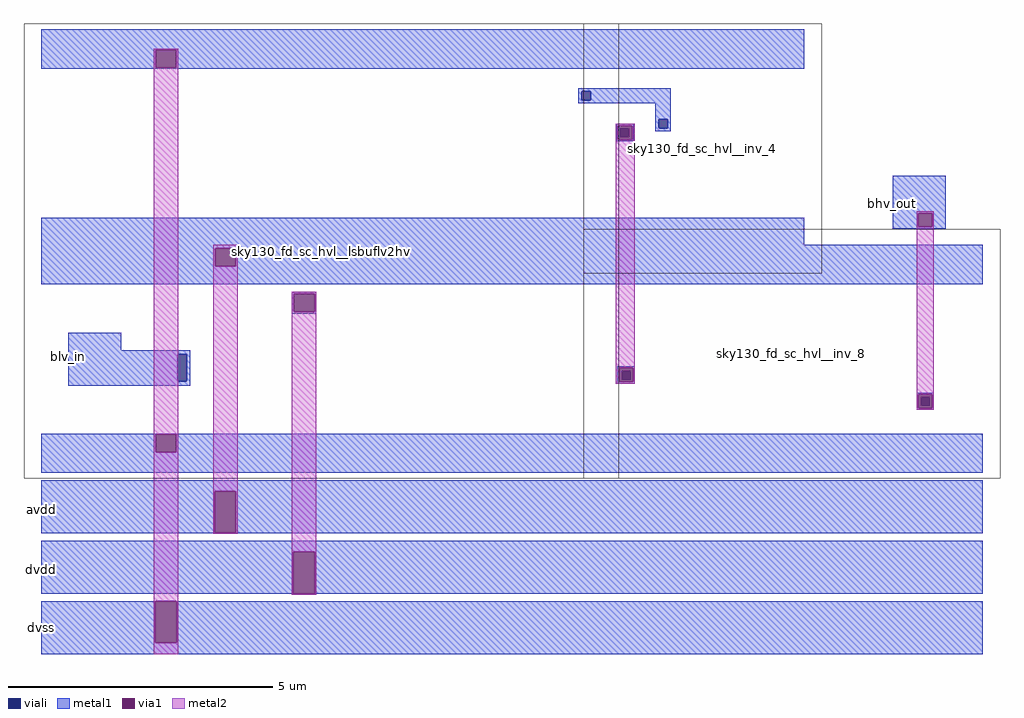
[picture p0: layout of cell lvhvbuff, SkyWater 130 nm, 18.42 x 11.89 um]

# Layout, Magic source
magic
tech sky130A
magscale 1 2
<< viali >>
rect 2762 961 2796 995
rect 3051 856 3085 890
rect 2907 821 2941 855
rect 1237 -100 1271 2
rect 2912 -93 2946 -59
rect 4041 -192 4075 -158
<< metal1 >>
rect 722 1152 3602 1229
rect 722 1084 1153 1152
rect 1231 1084 3602 1152
rect 722 1081 3602 1084
rect 2749 995 3097 1007
rect 2749 961 2762 995
rect 2796 961 3097 995
rect 2749 949 3097 961
rect 3039 890 3097 949
rect 2891 865 2957 872
rect 2891 812 2897 865
rect 2951 812 2957 865
rect 3039 856 3051 890
rect 3085 856 3097 890
rect 3039 844 3097 856
rect 2891 806 2957 812
rect 3936 535 4136 676
rect 722 415 3602 517
rect 3936 483 4032 535
rect 4084 483 4136 535
rect 3936 476 4136 483
rect 722 403 4274 415
rect 722 334 1377 403
rect 1455 334 4274 403
rect 722 267 4274 334
rect 1667 231 1759 239
rect 1667 163 1675 231
rect 1753 163 1759 231
rect 1667 156 1759 163
rect 823 18 1023 84
rect 823 2 1283 18
rect 823 -100 1237 2
rect 1271 -100 1283 2
rect 823 -116 1283 -100
rect 2896 -49 2962 -43
rect 2896 -102 2902 -49
rect 2956 -102 2962 -49
rect 2896 -108 2962 -102
rect 4026 -149 4090 -143
rect 4026 -201 4032 -149
rect 4084 -201 4090 -149
rect 4026 -207 4090 -201
rect 722 -300 4274 -297
rect 722 -368 1153 -300
rect 1231 -368 4274 -300
rect 722 -445 4274 -368
rect 722 -514 4274 -473
rect 722 -672 1376 -514
rect 1456 -672 4274 -514
rect 722 -673 4274 -672
rect 722 -743 4274 -701
rect 722 -901 1673 -743
rect 1753 -901 4274 -743
rect 722 -1087 1152 -929
rect 1232 -1087 4274 -929
rect 722 -1129 4274 -1087
<< via1 >>
rect 1153 1084 1231 1152
rect 2897 855 2951 865
rect 2897 821 2907 855
rect 2907 821 2941 855
rect 2941 821 2951 855
rect 2897 812 2951 821
rect 4032 483 4084 535
rect 1377 334 1455 403
rect 1675 163 1753 231
rect 2902 -59 2956 -49
rect 2902 -93 2912 -59
rect 2912 -93 2946 -59
rect 2946 -93 2956 -59
rect 2902 -102 2956 -93
rect 4032 -158 4084 -149
rect 4032 -192 4041 -158
rect 4041 -192 4075 -158
rect 4075 -192 4084 -158
rect 4032 -201 4084 -192
rect 1153 -368 1231 -300
rect 1376 -672 1456 -514
rect 1673 -901 1753 -743
rect 1152 -1087 1232 -929
<< metal2 >>
rect 1146 1152 1238 1155
rect 1146 1084 1153 1152
rect 1231 1084 1238 1152
rect 1146 -300 1238 1084
rect 2889 865 2962 873
rect 2889 812 2897 865
rect 2951 812 2962 865
rect 1146 -368 1153 -300
rect 1231 -368 1238 -300
rect 1146 -929 1238 -368
rect 1370 403 1462 415
rect 1370 334 1377 403
rect 1455 334 1462 403
rect 1370 -514 1462 334
rect 1370 -672 1376 -514
rect 1456 -672 1462 -514
rect 1370 -676 1462 -672
rect 1667 231 1759 239
rect 1667 163 1675 231
rect 1753 163 1759 231
rect 1667 -743 1759 163
rect 2889 -49 2962 812
rect 2889 -102 2902 -49
rect 2956 -102 2962 -49
rect 2889 -108 2962 -102
rect 4026 535 4090 542
rect 4026 483 4032 535
rect 4084 483 4090 535
rect 4026 -149 4090 483
rect 4026 -201 4032 -149
rect 4084 -201 4090 -149
rect 4026 -207 4090 -201
rect 1667 -901 1673 -743
rect 1753 -901 1759 -743
rect 1667 -906 1759 -901
rect 1146 -1087 1152 -929
rect 1232 -1087 1238 -929
rect 1146 -1129 1238 -1087
use sky130_fd_sc_hvl__lsbuflv2hv_1  x1 $PDKPATH/libs.ref/sky130_fd_sc_hvl/mag
transform 1 0 722 0 1 -422
box -66 -43 2178 1671
use sky130_fd_sc_hvl__inv_4  x2 $PDKPATH/libs.ref/sky130_fd_sc_hvl/mag
transform -1 0 3602 0 -1 1206
box -66 -43 834 897
use sky130_fd_sc_hvl__inv_8  x3 $PDKPATH/libs.ref/sky130_fd_sc_hvl/mag
transform 1 0 2834 0 1 -422
box -66 -43 1506 897
<< labels >>
flabel metal1 s 722 -809 722 -809 3 FreeSans 800 0 0 0 dvdd
port 0 e
flabel metal1 s 722 -583 722 -583 3 FreeSans 800 0 0 0 avdd
port 1 e
flabel metal1 s 823 -7 823 -7 3 FreeSans 800 0 0 0 blv_in
port 2 e
flabel metal1 s 3935 573 3936 573 3 FreeSans 800 0 0 0 bhv_out
port 3 e
flabel metal1 s 722 -1028 722 -1028 3 FreeSans 800 0 0 0 dvss
port 4 e
<< end >>
